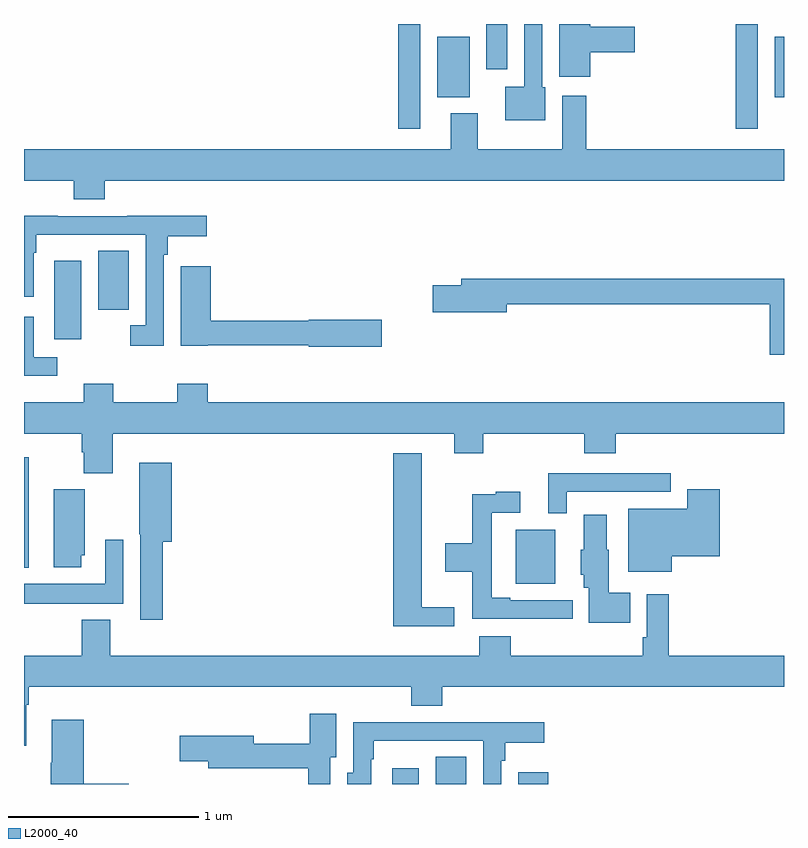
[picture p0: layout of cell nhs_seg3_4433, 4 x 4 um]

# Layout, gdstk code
import gdstk
lib = gdstk.Library(unit=1e-6, precision=1e-09)
def R(c, l, rs):  # rectangles x0, y0, x1, y1
    for r in rs: c.add(gdstk.rectangle(r[:2], r[2:], *l))
def P(c, l, *ps):  # polygons
    for p in ps: c.add(gdstk.Polygon(p, *l))
L2000_40 = (2000, 40)

nhs_seg3_4433 = lib.new_cell('nhs_seg3_4433')
R(nhs_seg3_4433, L2000_40, [(348.938,704.4,349.078,704.482), (349.166,704.4,349.327,704.543), (349.601,704.4,349.76,704.461), (349.589,705.455,349.795,705.739), (347,705.539,347.026,706.12), (347.159,706.74,347.302,707.155), (347.39,706.896,347.551,707.207), (348.97,707.85,349.086,708.4), (350.746,707.85,350.862,708.4), (349.175,708.014,349.345,708.334), (350.951,708.014,351,708.334), (349.433,708.162,349.543,708.4)])
P(nhs_seg3_4433, L2000_40, [(349.744,708.066),(349.728,708.066),(349.728,708.4),(349.632,708.4),(349.632,708.07),(349.532,708.07),(349.532,707.894),(349.744,707.894)],
  [(349.979,708.251),(350.215,708.251),(350.215,708.385),(349.979,708.385),(349.979,708.4),(349.817,708.4),(349.817,708.123),(349.979,708.123)],
  [(347.426,707.576),(351,707.576),(351,707.74),(349.958,707.74),(349.958,708.022),(349.832,708.022),(349.832,707.74),(349.387,707.74),(349.387,707.929),(349.247,707.929),(349.247,707.74),(347,707.74),(347,707.576),(347.261,707.576),(347.261,707.477),(347.426,707.477)],
  [(347.736,707.186),(347.756,707.186),(347.756,707.282),(347.962,707.282),(347.962,707.39),(347.543,707.39),(347.543,707.388),(347.177,707.388),(347.177,707.39),(347,707.39),(347,706.965),(347.052,706.965),(347.052,707.195),(347.065,707.195),(347.065,707.291),(347.294,707.291),(347.294,707.292),(347.64,707.292),(347.64,706.815),(347.559,706.815),(347.559,706.707),(347.736,706.707)],
  [(348.883,706.844),(348.498,706.844),(348.498,706.838),(347.984,706.838),(347.984,707.125),(347.825,707.125),(347.825,706.706),(347.967,706.706),(347.967,706.71),(348.498,706.71),(348.498,706.702),(348.883,706.702)],
  [(351,707.06),(349.301,707.06),(349.301,707.024),(349.152,707.024),(349.152,706.882),(349.54,706.882),(349.54,706.924),(350.924,706.924),(350.924,706.659),(351,706.659)],
  [(347.176,706.647),(347.052,706.647),(347.052,706.86),(347,706.86),(347,706.55),(347.176,706.55)],
  [(347.468,706.244),(349.265,706.244),(349.265,706.142),(349.418,706.142),(349.418,706.244),(349.949,706.244),(349.949,706.142),(350.114,706.142),(350.114,706.244),(351,706.244),(351,706.408),(347.966,706.408),(347.966,706.507),(347.806,706.507),(347.806,706.408),(347.469,706.408),(347.469,706.507),(347.314,706.507),(347.314,706.408),(347,706.408),(347,706.244),(347.303,706.244),(347.303,706.145),(347.315,706.145),(347.315,706.036),(347.468,706.036)],
  [(349.264,705.329),(349.093,705.329),(349.093,706.141),(348.944,706.141),(348.944,705.23),(349.264,705.23)],
  [(347.729,705.674),(347.777,705.674),(347.777,706.09),(347.606,706.09),(347.606,705.714),(347.613,705.714),(347.613,705.264),(347.729,705.264)],
  [(349.857,705.939),(350.404,705.939),(350.404,706.035),(349.76,706.035),(349.76,705.824),(349.857,705.824)],
  [(350.41,705.599),(350.663,705.599),(350.663,705.952),(350.492,705.952),(350.492,705.85),(350.18,705.85),(350.18,705.518),(350.41,705.518)],
  [(347.302,705.603),(347.32,705.603),(347.32,705.951),(347.156,705.951),(347.156,705.54),(347.302,705.54)],
  [(349.888,705.366),(349.558,705.366),(349.558,705.379),(349.461,705.379),(349.461,705.828),(349.612,705.828),(349.612,705.937),(349.484,705.937),(349.484,705.926),(349.36,705.926),(349.36,705.666),(349.218,705.666),(349.218,705.518),(349.36,705.518),(349.36,705.27),(349.645,705.27),(349.645,705.269),(349.888,705.269)],
  [(350.192,705.406),(350.077,705.406),(350.077,705.633),(350.068,705.633),(350.068,705.817),(349.946,705.817),(349.946,705.633),(349.931,705.633),(349.931,705.501),(349.946,705.501),(349.946,705.432),(349.973,705.432),(349.973,705.248),(350.192,705.248)],
  [(347.219,705.35),(347.523,705.35),(347.523,705.685),(347.427,705.685),(347.427,705.454),(347,705.454),(347,705.348),(347.219,705.348)],
  [(347.011,704.816),(347.024,704.816),(347.024,704.912),(349.037,704.912),(349.037,704.813),(349.202,704.813),(349.202,704.912),(351,704.912),(351,705.076),(350.393,705.076),(350.393,705.4),(350.277,705.4),(350.277,705.172),(350.257,705.172),(350.257,705.076),(349.562,705.076),(349.562,705.178),(349.397,705.178),(349.397,705.076),(347.455,705.076),(347.455,705.265),(347.303,705.265),(347.303,705.076),(347,705.076),(347,704.601),(347.011,704.601)],
  [(348.613,704.541),(348.643,704.541),(348.643,704.77),(348.505,704.77),(348.505,704.611),(348.208,704.611),(348.208,704.653),(347.82,704.653),(347.82,704.519),(347.969,704.519),(347.969,704.482),(348.495,704.482),(348.495,704.4),(348.613,704.4)],
  [(347.551,704.402),(347.315,704.402),(347.315,704.737),(347.147,704.737),(347.147,704.513),(347.14,704.513),(347.14,704.4),(347.551,704.4)],
  [(348.828,704.531),(348.841,704.531),(348.841,704.627),(349.07,704.627),(349.07,704.628),(349.416,704.628),(349.416,704.4),(349.512,704.4),(349.512,704.522),(349.532,704.522),(349.532,704.618),(349.738,704.618),(349.738,704.726),(349.319,704.726),(349.319,704.724),(348.953,704.724),(348.953,704.726),(348.732,704.726),(348.732,704.46),(348.701,704.46),(348.701,704.4),(348.828,704.4)])

lib.write_gds('nhs_seg3_4433.gds')
